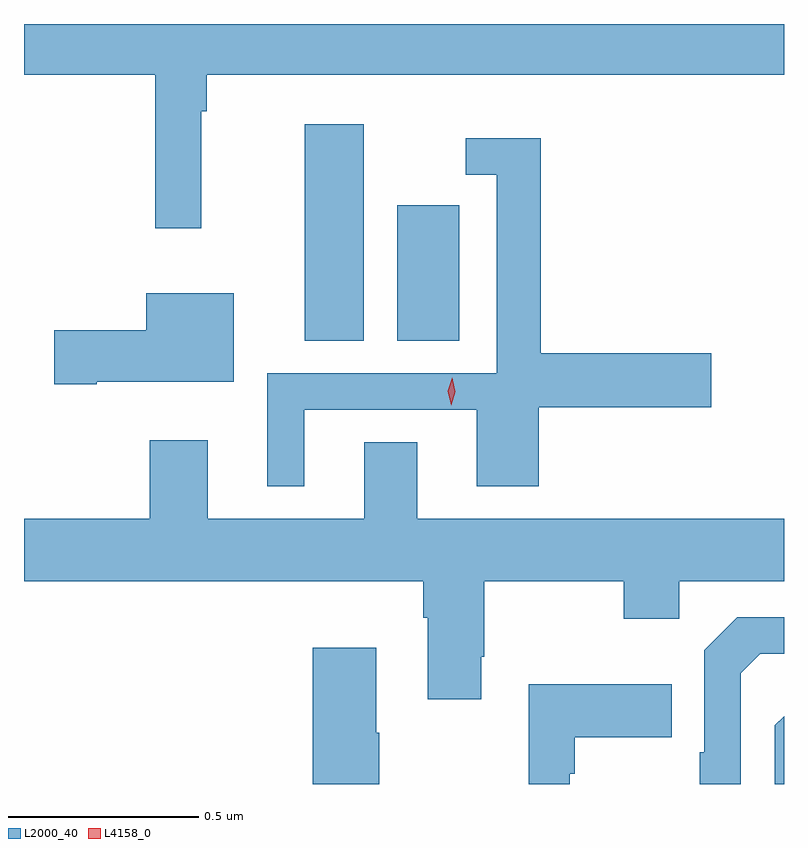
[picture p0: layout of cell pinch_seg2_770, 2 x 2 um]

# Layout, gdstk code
import gdstk
lib = gdstk.Library(unit=1e-6, precision=1e-09)
def R(c, l, rs):  # rectangles x0, y0, x1, y1
    for r in rs: c.add(gdstk.rectangle(r[:2], r[2:], *l))
def P(c, l, *ps):  # polygons
    for p in ps: c.add(gdstk.Polygon(p, *l))
L2000_40 = (2000, 40)
L4158_0 = (4158, 0)

pinch_seg2_770 = lib.new_cell('pinch_seg2_770')
R(pinch_seg2_770, L2000_40, [(879.281,630.952,879.436,631.522), (879.524,630.952,879.688,631.309)])
P(pinch_seg2_770, L2000_40, [(879.008,631.556),(879.023,631.556),(879.023,631.652),(880.542,631.652),(880.542,631.786),(878.542,631.786),(878.542,631.652),(878.887,631.652),(878.887,631.248),(879.008,631.248)],
  [(879.28,630.771),(879.734,630.771),(879.734,630.57),(879.896,630.57),(879.896,630.778),(880.351,630.778),(880.351,630.92),(879.902,630.92),(879.902,631.486),(879.705,631.486),(879.705,631.389),(879.786,631.389),(879.786,630.867),(879.182,630.867),(879.182,630.57),(879.28,630.57)],
  [(878.734,630.845),(879.094,630.845),(879.094,631.078),(878.864,631.078),(878.864,630.98),(878.622,630.98),(878.622,630.838),(878.734,630.838)],
  [(879.745,630.121),(879.753,630.121),(879.753,630.32),(880.12,630.32),(880.12,630.221),(880.266,630.221),(880.266,630.32),(880.542,630.32),(880.542,630.484),(879.577,630.484),(879.577,630.686),(879.437,630.686),(879.437,630.484),(879.025,630.484),(879.025,630.691),(878.873,630.691),(878.873,630.484),(878.542,630.484),(878.542,630.32),(879.593,630.32),(879.593,630.224),(879.605,630.224),(879.605,630.009),(879.745,630.009)],
  [(880.428,630.078),(880.479,630.129),(880.542,630.129),(880.542,630.225),(880.419,630.225),(880.332,630.138),(880.332,629.869),(880.32,629.869),(880.32,629.786),(880.428,629.786)],
  [(879.477,629.921),(879.469,629.921),(879.469,630.145),(879.302,630.145),(879.302,629.786),(879.477,629.786)],
  [(879.978,629.813),(879.991,629.813),(879.991,629.909),(880.247,629.909),(880.247,630.049),(879.87,630.049),(879.87,629.786),(879.978,629.786)],
  [(880.542,629.964),(880.518,629.94),(880.518,629.786),(880.542,629.786)])
P(pinch_seg2_770, L4158_0, [(879.666,630.783),(879.666,630.783),(879.657,630.819),(879.669,630.855),(879.669,630.855),(879.669,630.855),(879.677,630.818),(879.666,630.783)])

lib.write_gds('pinch_seg2_770.gds')
